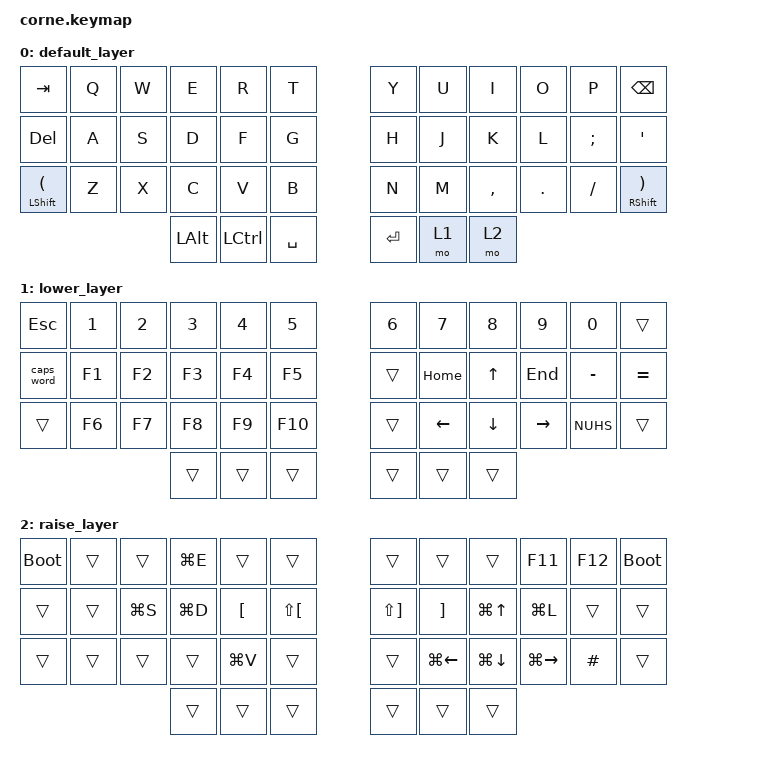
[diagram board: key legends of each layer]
/*
 * Copyright (c) 2020 The ZMK Contributors
 *
 * SPDX-License-Identifier: MIT
 */

#include <behaviors.dtsi>
#include <dt-bindings/zmk/keys.h>
#include <dt-bindings/zmk/bt.h>

/ {
        keymap {
                compatible = "zmk,keymap";

                default_layer {
// -----------------------------------------------------------------------------------------
// | TAB  |  Q  |  W  |  E  |  R  |  T  |   |  Y  |  U   |  I  |  O  |  P  | BKSP  |
// | DEL  |  A  |  S  |  D  |  F  |  G  |   |  H  |  J   |  K  |  L  |  ;  |  '    |
// |SHFT( |  Z  |  X  |  C  |  V  |  B  |   |  N  |  M   |  ,  |  .  |  /  | SHFT) |
//                    | ALT | CTRL| SPC |   | ENT |  L1  | L2  |
                        bindings = <
   &kp TAB          &kp Q &kp W &kp E &kp R &kp T   &kp Y &kp U  &kp I     &kp O   &kp P    &kp BSPC
   &kp DEL          &kp A &kp S &kp D &kp F &kp G   &kp H &kp J  &kp K     &kp L   &kp SEMI &kp SQT
   &mt LSHFT LPAR   &kp Z &kp X &kp C &kp V &kp B   &kp N &kp M  &kp COMMA &kp DOT &kp FSLH &mt RSHFT RPAR
                    &kp LALT &kp LCTRL &kp SPACE   &kp RET &mo 1 &mo 2
                        >;
                };

                lower_layer {
// -----------------------------------------------------------------------------------------
// |  ESC |  1  |  2  |  3  |  4  |  5  |   |  6  |  7  |  8  |  9  |  0  | BKSP |
// |      |  F1 |  F2 |  F3 |  F4 |  F5 |   |     | HOM |  UP | END |  -  |   =  |
// |      |  F6 |  F7 |  F8 |  F9 | F10 |   |     | LFT | DWN | RGT |  \  |      |
//                    |     |     |     |   |     |     |     |
                        bindings = <
   &kp ESC      &kp N1      &kp N2      &kp N3      &kp N4       &kp N5         &kp N6      &kp N7      &kp N8      &kp N9      &kp N0      &trans
   &caps_word   &kp F1      &kp F2      &kp F3      &kp F4       &kp F5         &trans      &kp HOME    &kp UP      &kp END     &kp MINUS   &kp EQUAL
   &trans       &kp F6      &kp F7      &kp F8      &kp F9       &kp F10        &trans      &kp LEFT    &kp DOWN    &kp RIGHT   &kp NUHS    &trans
                                        &trans      &trans       &trans         &trans      &trans      &trans
                        >;
                };

                raise_layer {
// -----------------------------------------------------------------------------------------
// |Reset |     |     |     |     |     |   |     |     |     |     |     |Reset |
// |      |     |     |     |     |  {  |   |  }  |     |     |     |     |      |
// |      |     |     |     |     |     |   |     |     |     |     |  #  |      |
//                    |     |     |     |   |     |     |     |
                        bindings = <
   &bootloader      &trans      &trans      &kp LG(E)   &trans      &trans          &trans          &trans          &trans          &kp F11         &kp F12     &bootloader
   &trans           &trans      &kp LG(S)   &kp LG(D)   &kp LBKT    &kp LS(LBKT)    &kp LS(RBKT)    &kp RBKT        &kp LG(UP)      &kp LG(L)       &trans      &trans
   &trans           &trans      &trans      &trans      &kp LG(V)   &trans          &trans          &kp LG(LEFT)    &kp LG(DOWN)    &kp LG(RIGHT)   &kp HASH    &trans
                                            &trans      &trans      &trans          &trans          &trans          &trans
                        >;
                };
        };
};
